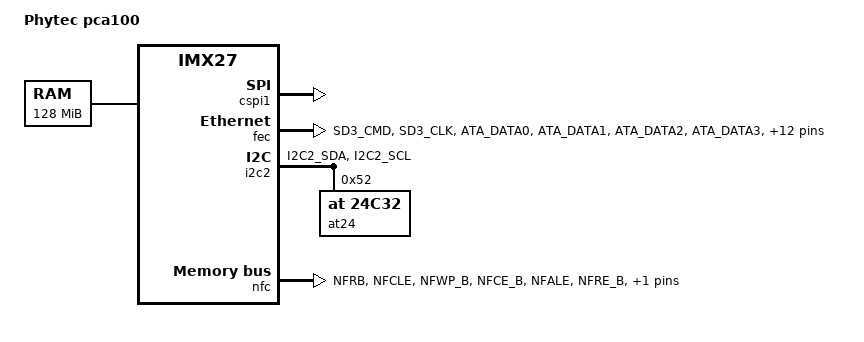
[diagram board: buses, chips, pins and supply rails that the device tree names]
/*
 * Copyright 2012 Sascha Hauer, Uwe Kleine-König, Steffen Trumtrar
 * and Markus Pargmann, Pengutronix
 *
 * The code contained herein is licensed under the GNU General Public
 * License. You may obtain a copy of the GNU General Public License
 * Version 2 or later at the following locations:
 *
 * http://www.opensource.org/licenses/gpl-license.html
 * http://www.gnu.org/copyleft/gpl.html
 */

/dts-v1/;
#include "imx27.dtsi"

/ {
	model = "Phytec pca100";
	compatible = "phytec,imx27-pca100", "fsl,imx27";

	memory {
		reg = <0xa0000000 0x08000000>; /* 128MB */
	};
};

&cspi1 {
	fsl,spi-num-chipselects = <2>;
	cs-gpios = <&gpio4 28 GPIO_ACTIVE_HIGH>,
		   <&gpio4 27 GPIO_ACTIVE_HIGH>;
	status = "okay";
};

&fec {
	pinctrl-names = "default";
	pinctrl-0 = <&pinctrl_fec1>;
	status = "okay";
};

&i2c2 {
	pinctrl-names = "default";
	pinctrl-0 = <&pinctrl_i2c2>;
	status = "okay";

	at24@52 {
		compatible = "at,24c32";
		pagesize = <32>;
		reg = <0x52>;
	};
};

&iomuxc {
	imx27-phycard-s-som {
		pinctrl_fec1: fec1grp {
			fsl,pins = <
				MX27_PAD_SD3_CMD__FEC_TXD0 0x0
				MX27_PAD_SD3_CLK__FEC_TXD1 0x0
				MX27_PAD_ATA_DATA0__FEC_TXD2 0x0
				MX27_PAD_ATA_DATA1__FEC_TXD3 0x0
				MX27_PAD_ATA_DATA2__FEC_RX_ER 0x0
				MX27_PAD_ATA_DATA3__FEC_RXD1 0x0
				MX27_PAD_ATA_DATA4__FEC_RXD2 0x0
				MX27_PAD_ATA_DATA5__FEC_RXD3 0x0
				MX27_PAD_ATA_DATA6__FEC_MDIO 0x0
				MX27_PAD_ATA_DATA7__FEC_MDC 0x0
				MX27_PAD_ATA_DATA8__FEC_CRS 0x0
				MX27_PAD_ATA_DATA9__FEC_TX_CLK 0x0
				MX27_PAD_ATA_DATA10__FEC_RXD0 0x0
				MX27_PAD_ATA_DATA11__FEC_RX_DV 0x0
				MX27_PAD_ATA_DATA12__FEC_RX_CLK 0x0
				MX27_PAD_ATA_DATA13__FEC_COL 0x0
				MX27_PAD_ATA_DATA14__FEC_TX_ER 0x0
				MX27_PAD_ATA_DATA15__FEC_TX_EN 0x0
			>;
		};

		pinctrl_i2c2: i2c2grp {
			fsl,pins = <
				MX27_PAD_I2C2_SDA__I2C2_SDA 0x0
				MX27_PAD_I2C2_SCL__I2C2_SCL 0x0
			>;
		};

		pinctrl_nfc: nfcgrp {
			fsl,pins = <
				MX27_PAD_NFRB__NFRB 0x0
				MX27_PAD_NFCLE__NFCLE 0x0
				MX27_PAD_NFWP_B__NFWP_B 0x0
				MX27_PAD_NFCE_B__NFCE_B 0x0
				MX27_PAD_NFALE__NFALE 0x0
				MX27_PAD_NFRE_B__NFRE_B 0x0
				MX27_PAD_NFWE_B__NFWE_B 0x0
			>;
		};
	};
};

&nfc {
	pinctrl-names = "default";
	pinctrl-0 = <&pinctrl_nfc>;
	nand-bus-width = <8>;
	nand-ecc-mode = "hw";
	nand-on-flash-bbt;
	status = "okay";
};
